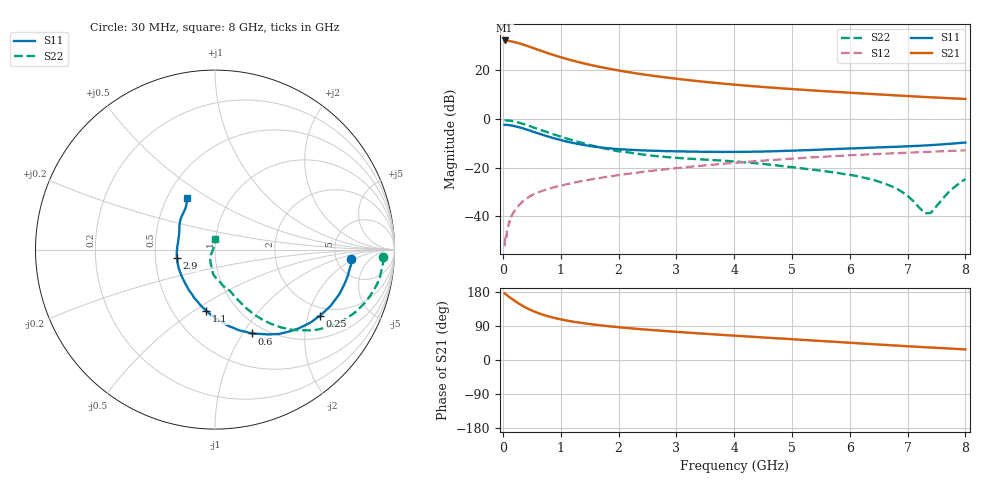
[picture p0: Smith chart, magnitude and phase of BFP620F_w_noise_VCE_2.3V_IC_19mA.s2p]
! Infineon Technologies  Discrete & RF Semiconductors
! BFP620F
! VCE =  2.3 V,  IC =  19 mA
! Common Emitter S-Parameters:  Dec 2014
# GHz  S  MA  R  50
!  f  S11  S21  S12  S22
! GHz  MAG  ANG  MAG  ANG  MAG  ANG  MAG  ANG
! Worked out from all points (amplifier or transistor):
!   95 points, 30 MHz to 8 GHz, reference 50 ohm
!   highest |S21| = 32.4 dB at 30 MHz (marker M1)
!   |S21| within 3 dB of that: start of sweep to 511 MHz
!   unconditionally stable (mu >= 1): 2.885 GHz to end of sweep
!   at 300 MHz: K = 0.35, MSG = 33.1 dB, |S12| = -35.0 dB
!   at 3.3 GHz: K = 1.01, MAG = 16.9 dB, |S12| = -19.5 dB
!   at 8 GHz: K = 1.07, MAG = 9.0 dB, |S12| = -12.9 dB
!   lowest NFmin = 0.81 dB at 450 MHz
!   S11 on the Smith chart (normalised r, x): 30 MHz: 6.91, -1.74; 250 MHz: 1.70, -2.40; 600 MHz: 0.87, -1.10; 1.1 GHz: 0.73, -0.56; 2.9 GHz: 0.65, -0.07; 8 GHz: 0.63, +0.41
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0.03  0.7606 -4.0  41.56 175.8  0.0024 33.2  0.9361 -2.5
0.09  0.7525 -12.0  40.92 168.8  0.0061 66.8  0.9323 -8.6
0.13  0.7408 -17.3  40.18 164.2  0.0086 70.7  0.9203 -12.7
0.2  0.7159 -26.1  38.5 156.6  0.0128 68.4  0.8881 -19.3
0.25  0.6919 -32.1  37.22 151.4  0.0153 69.8  0.8595 -23.6
0.3  0.6682 -37.7  35.76 146.7  0.0177 68.9  0.8274 -27.7
0.4  0.6128 -48.4  32.74 138.0  0.0226 66.8  0.7582 -34.8
0.5  0.5598 -57.6  29.74 130.7  0.0269 65.1  0.6919 -40.6
0.6  0.511 -66.1  26.97 124.4  0.0306 63.2  0.6274 -45.6
0.7  0.4676 -73.6  24.51 119.1  0.0336 62.2  0.5703 -49.6
0.8  0.4298 -80.4  22.3 114.6  0.0368 61.8  0.519 -52.9
0.9  0.3961 -86.7  20.41 110.7  0.0397 61.4  0.4738 -55.8
1.1  0.3439 -98.1  17.31 104.2  0.0452 60.6  0.398 -60.2
1.4  0.292 -113.5  14.01 97.0  0.0535 60.2  0.3151 -65.1
2  0.2395 -139.3  10.02 86.6  0.0699 59.3  0.2165 -73.8
2.7  0.2204 -161.9  7.493 77.7  0.0891 57.1  0.1701 -84.1
2.9  0.2176 -167.2  6.988 75.4  0.0945 56.4  0.162 -86.4
4.1  0.2105 167.4  4.999 63.3  0.1276 51.0  0.131 -95.2
5.4  0.2317 148.9  3.854 51.1  0.1634 43.7  0.0895 -104.3
6.7  0.2651 133.4  3.115 39.0  0.1954 35.3  0.0421 -125.0
7.4  0.2897 123.8  2.804 32.9  0.2116 31.2  0.0116 142.1
8  0.3283 118.5  2.589 27.9  0.2261 27.2  0.0578 88.2
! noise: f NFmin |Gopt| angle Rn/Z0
0.45  0.81  0.06  3  0.21
0.9  0.87  0.06  11  0.18
1.5  0.92  0.06  12  0.14
1.8  0.94  0.05  14  0.14
1.9  0.95  0.03  31  0.16
2.4  0.98  0.02  68  0.15
3.5  1.06  0.03  160  0.14
5.5  1.2  0.14  227  0.1
6  1.23  0.14  248  0.14
